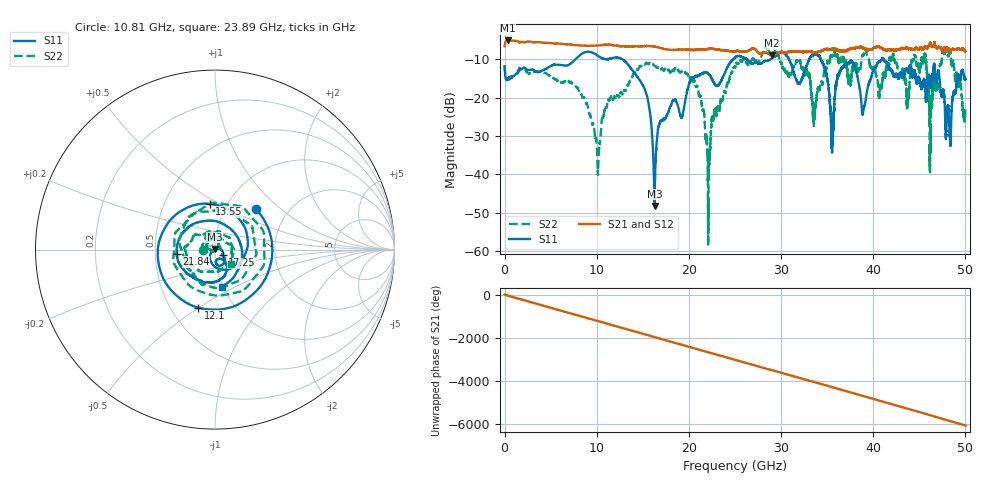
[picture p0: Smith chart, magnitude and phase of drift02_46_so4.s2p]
!Created with skrf (http://scikit-rf.org).
# Hz S RI R 50.0
!freq ReS11 ImS11 ReS21 ImS21 ReS12 ImS12 ReS22 ImS22
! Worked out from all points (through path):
!   10001 points, 300 kHz to 50 GHz, reference 50 ohm
!   highest |S21| = -5.04 dB at 325.3 MHz (marker M1); lowest = -8.9 dB at 28.98 GHz (marker M2)
!   group delay of S21, straight-line fit = 336 ps
!   lowest |S11| = -48.2 dB at 16.27 GHz (marker M3), VSWR 1.01, Z = 49.9 + j0.372 ohm
!   |S11| at or under -10 dB: start of sweep to 7.665 GHz; 12.82 GHz to 24.78 GHz (11.96 GHz wide, 63.6 % of centre); 41.13 GHz to end of sweep (the widest 3 of 11)
!   |S22| runs from -58.7 to -6.7 dB; largest |S21 - S12| = 0.033
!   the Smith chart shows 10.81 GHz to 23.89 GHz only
!   S11 on the Smith chart (normalised r, x): 10.81 GHz: 1.38, +0.70; 12.1 GHz: 0.68, -0.50; 13.55 GHz: 0.83, +0.45; 17.25 GHz: 1.09, -0.07; 21.84 GHz: 0.65, -0.03; 23.89 GHz: 0.99, -0.42
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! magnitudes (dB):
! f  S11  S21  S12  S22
! 300 kHz  -11.8  -6.5  -6.5  -11.6
! 325.3 MHz  -15.3  -5.0  -5.0  -15.1
! 8.335 GHz  -8.6  -6.4  -6.4  -19.1
! 10.11 GHz  -9.0  -6.3  -6.3  -39.4
! 10.81 GHz  -9.8  -6.2  -6.2  -23.6
! 12.1 GHz  -9.5  -6.4  -6.4  -20.3
! 13.55 GHz  -11.8  -6.6  -6.6  -15.9
! 16.27 GHz  -48.2  -6.6  -6.6  -11.7
! 16.67 GHz  -27.8  -6.8  -6.8  -12.2
! 17.25 GHz  -25.6  -7.2  -7.2  -12.8
! 21.84 GHz  -13.4  -7.3  -7.3  -30.4
! 23.89 GHz  -13.6  -7.6  -7.6  -18.4
! 25 GHz  -9.6  -7.8  -7.8  -12.0
! 28.98 GHz  -9.8  -8.9  -8.9  -8.0
! 33.34 GHz  -9.1  -8.0  -8.0  -20.1
! 35.55 GHz  -30.3  -7.2  -7.2  -9.2
! 36.8 GHz  -11.9  -7.8  -7.7  -10.5
! 41.67 GHz  -11.9  -7.4  -7.5  -12.1
! 45.5 GHz  -15.4  -6.9  -6.9  -9.9
! 46.26 GHz  -17.0  -6.2  -6.3  -23.2
! 48.12 GHz  -22.0  -7.1  -7.2  -8.9
! 50 GHz  -15.2  -7.9  -7.8  -23.6
